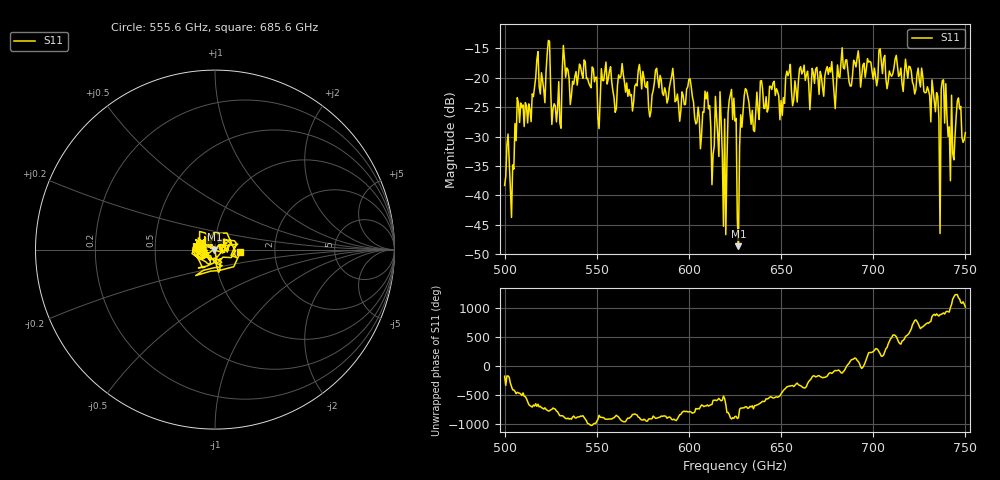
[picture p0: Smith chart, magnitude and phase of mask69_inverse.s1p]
!Created with skrf (http://scikit-rf.org).
# GHz S MA R 50.0
!freq magS11 angS11
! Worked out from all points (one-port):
!   401 points, 500 GHz to 750 GHz, reference 50 ohm
!   lowest |S11| = -48.7 dB at 626.9 GHz (marker M1), VSWR 1.01, Z = 49.6 - j0.0321 ohm
!   |S11| at or under -10 dB: start of sweep to end of sweep
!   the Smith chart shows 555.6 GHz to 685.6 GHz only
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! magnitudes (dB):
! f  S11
! 500 GHz  -38.3
! 503.8 GHz  -43.8
! 508.1 GHz  -27.6
! 517.5 GHz  -16.9
! 523.8 GHz  -13.6
! 526.9 GHz  -24.4
! 531.2 GHz  -18.8
! 562.5 GHz  -20.0
! 593.8 GHz  -22.8
! 605.6 GHz  -26.8
! 610 GHz  -22.4
! 612.5 GHz  -38.2
! 616.2 GHz  -33.4
! 619.4 GHz  -27.0
! 622.5 GHz  -22.9
! 625 GHz  -27.3
! 626.9 GHz  -48.7
! 631.2 GHz  -22.1
! 635 GHz  -28.9
! 656.2 GHz  -24.7
! 687.5 GHz  -21.4
! 718.8 GHz  -20.1
! 733.1 GHz  -24.0
! 735 GHz  -23.1
! 738.1 GHz  -20.3
! 742.5 GHz  -23.0
! 746.2 GHz  -23.4
! 750 GHz  -29.3
